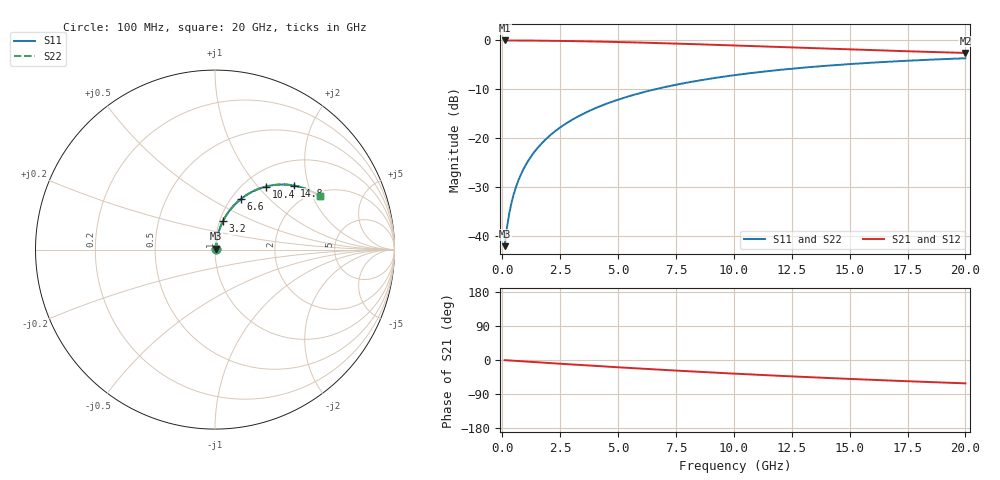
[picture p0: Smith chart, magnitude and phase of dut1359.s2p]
! Touchstone file exported from HFSS 2026.1.0
!  File:  C:/ffzhzh/LocalFiles/Ansys_Project_Files/temp_train_BSMRDL_1359_1783179173_22436.aedt
!  Generated:  11:34:22 PM Jul  4, 2026
!  Design:  BSMRDL
!  Project:  temp_train_BSMRDL_1359_1783179173_22436
! Variables:
!  h_bsmrdl = 4.75um
!  h_ox = 20um
!  h_rdl = 5um
!  h_sub = 80um
!  h_tmrdl = 5um
!  h_tsv = 80um
!  h_via = 3um
!  l_bsmrdl = 883.07um
!  l_sub = 1283.07um
!  l_tmrdl = 200um
!  m_sub = 200um
!  pitch = 58.64um
!  r_tsv = 6um
!  s_tmrdl = 10um
!  w_bsmrdl = 11.18um
!  w_sub = 500um
!  w_tmrdl = 12um
!  x_tsv_center1 = 206um
!  x_tsv_center2 = 1100.25um
!  x_tsv_center3 = 1312.25um
!  x_tsv_center4 = 2206.5um
!  x_tsv_center5 = 2418.5um
!  x_tsv_center6 = 3312.75um
# GHz S MA R 50.000000
! Terminal data exported
! Port[1] = BSM_RDL1_1_T1
! Port[2] = BSM_RDL1_1_T2
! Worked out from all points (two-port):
!   200 points, 100 MHz to 20 GHz, reference 50 ohm
!   highest |S21| = -0.05 dB at 100 MHz (marker M1); lowest = -2.6 dB at 20 GHz (marker M2)
!   |S21| within 3 dB of the highest: start of sweep to end of sweep
!   lowest |S11| = -42.0 dB at 100 MHz (marker M3), VSWR 1.02, Z = 50.6 + j0.538 ohm
!   |S11| at or under -10 dB: start of sweep to 6.612 GHz
!   |S22| runs from -42.0 to -3.7 dB; largest |S21 - S12| = 1.5e-14
!   S11 on the Smith chart (normalised r, x): 100 MHz: 1.01, +0.01; 3.2 GHz: 1.04, +0.34; 6.6 GHz: 1.11, +0.69; 10.4 GHz: 1.25, +1.11; 14.8 GHz: 1.54, +1.62; 20 GHz: 2.17, +2.27
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0.1  0.007935 42.1  0.9941 -0.4  0.9941 -0.4  0.007935 42.1
! Gamma 0 0 0 0
! Port Impedance 50 0 50 0
0.2  0.01223 60.2  0.994 -0.8  0.994 -0.8  0.01223 60.2
0.3  0.01709 68.1  0.9938 -1.2  0.9938 -1.2  0.01709 68.1
0.4  0.02211 72.3  0.9936 -1.6  0.9936 -1.6  0.02211 72.3
0.5  0.02718 74.7  0.9934 -2.0  0.9934 -2.0  0.02718 74.7
0.7  0.0374 77.3  0.9929 -2.8  0.9929 -2.8  0.0374 77.3
1  0.05279 78.8  0.992 -4.0  0.992 -4.0  0.05279 78.8
1.4  0.07328 79.1  0.9904 -5.5  0.9904 -5.5  0.07328 79.1
1.9  0.09875 78.3  0.9879 -7.5  0.9879 -7.5  0.09875 78.3
2.5  0.1289 76.7  0.9839 -9.8  0.9839 -9.8  0.1289 76.7
3.2  0.1634 74.5  0.9781 -12.5  0.9781 -12.5  0.1634 74.5
3.5  0.1779 73.5  0.9753 -13.7  0.9753 -13.7  0.1779 73.5
4.9  0.243 68.7  0.9598 -18.8  0.9598 -18.8  0.243 68.7
6.6  0.3157 63.0  0.9369 -24.9  0.9369 -24.9  0.3157 63.0
6.8  0.3238 62.3  0.934 -25.6  0.934 -25.6  0.3238 62.3
8.3  0.3812 57.4  0.9113 -30.6  0.9113 -30.6  0.3812 57.4
10.1  0.4424 51.9  0.8826 -36.2  0.8826 -36.2  0.4424 51.9
10.4  0.4519 51.0  0.8778 -37.2  0.8778 -37.2  0.4519 51.0
13.4  0.5346 42.7  0.8302 -45.7  0.8302 -45.7  0.5346 42.7
14.8  0.5665 39.1  0.809 -49.4  0.809 -49.4  0.5665 39.1
16.7  0.6038 34.5  0.7821 -54.1  0.7821 -54.1  0.6038 34.5
20  0.6545 27.1  0.7413 -61.6  0.7413 -61.6  0.6545 27.1
